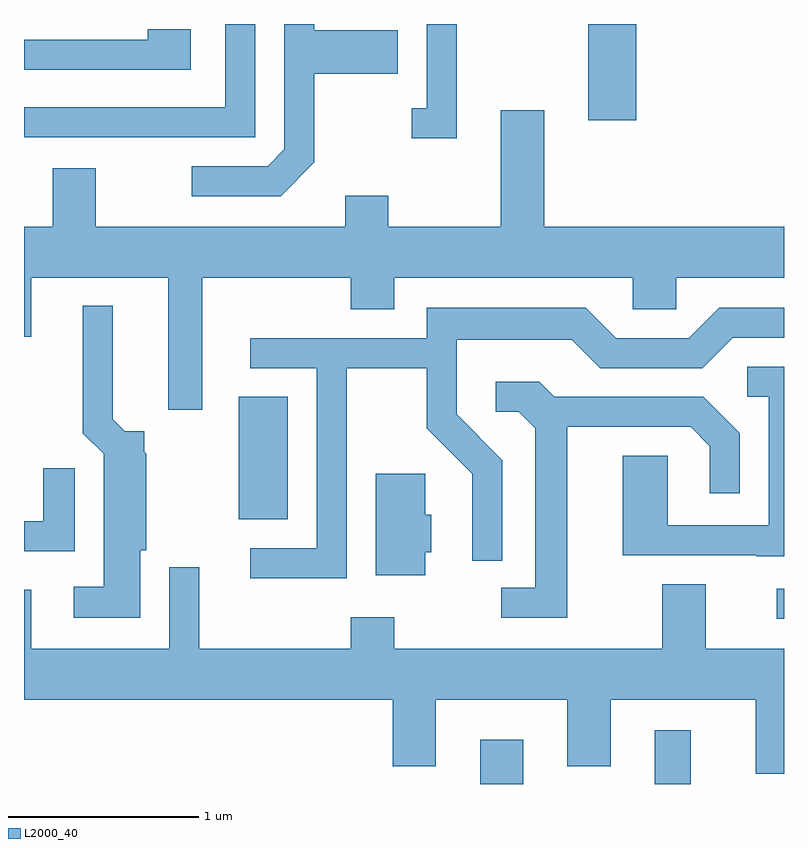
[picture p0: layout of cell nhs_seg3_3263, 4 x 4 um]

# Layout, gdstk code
import gdstk
lib = gdstk.Library(unit=1e-6, precision=1e-09)
def R(c, l, rs):  # rectangles x0, y0, x1, y1
    for r in rs: c.add(gdstk.rectangle(r[:2], r[2:], *l))
def P(c, l, *ps):  # polygons
    for p in ps: c.add(gdstk.Polygon(p, *l))
L2000_40 = (2000, 40)

nhs_seg3_3263 = lib.new_cell('nhs_seg3_3263')
R(nhs_seg3_3263, L2000_40, [(282.011,1249.892,282.239,1250.124), (282.931,1249.892,283.119,1250.174), (283.573,1250.761,283.611,1250.919), (280.741,1251.286,280.999,1251.929), (282.581,1253.386,282.834,1253.892)])
P(nhs_seg3_3263, L2000_40, [(280.829,1253.892),(280.671,1253.892),(280.671,1253.454),(279.611,1253.454),(279.611,1253.296),(280.829,1253.296)],
  [(281.889,1253.892),(281.731,1253.892),(281.731,1253.449),(281.653,1253.449),(281.653,1253.291),(281.889,1253.291)],
  [(281.139,1253.164),(281.139,1253.631),(281.579,1253.631),(281.579,1253.859),(281.139,1253.859),(281.139,1253.892),(280.981,1253.892),(280.981,1253.232),(280.894,1253.144),(280.493,1253.144),(280.493,1252.986),(280.962,1252.986)],
  [(280.489,1253.864),(280.261,1253.864),(280.261,1253.809),(279.611,1253.809),(279.611,1253.651),(280.489,1253.651)],
  [(280.549,1252.556),(281.331,1252.556),(281.331,1252.391),(281.559,1252.391),(281.559,1252.556),(282.816,1252.556),(282.816,1252.391),(283.044,1252.391),(283.044,1252.556),(283.611,1252.556),(283.611,1252.824),(282.349,1252.824),(282.349,1253.439),(282.121,1253.439),(282.121,1252.824),(281.529,1252.824),(281.529,1252.989),(281.301,1252.989),(281.301,1252.824),(279.989,1252.824),(279.989,1253.134),(279.761,1253.134),(279.761,1252.824),(279.611,1252.824),(279.611,1252.246),(279.649,1252.246),(279.649,1252.556),(280.371,1252.556),(280.371,1251.861),(280.549,1251.861)],
  [(280.224,1251.121),(280.254,1251.121),(280.254,1251.631),(280.244,1251.641),(280.244,1251.749),(280.142,1251.749),(280.079,1251.812),(280.079,1252.408),(279.921,1252.408),(279.921,1251.739),(280.031,1251.629),(280.031,1250.929),(279.873,1250.929),(279.873,1250.766),(280.224,1250.766)],
  [(281.309,1252.081),(281.731,1252.081),(281.731,1251.764),(281.971,1251.524),(281.971,1251.068),(282.129,1251.068),(282.129,1251.597),(281.889,1251.837),(281.889,1252.231),(282.494,1252.231),(282.644,1252.081),(283.182,1252.081),(283.342,1252.241),(283.611,1252.241),(283.611,1252.399),(283.269,1252.399),(283.109,1252.239),(282.727,1252.239),(282.567,1252.399),(281.731,1252.399),(281.731,1252.239),(280.803,1252.239),(280.803,1252.081),(281.151,1252.081),(281.151,1251.134),(280.803,1251.134),(280.803,1250.976),(281.309,1250.976)],
  [(283.611,1252.089),(283.418,1252.089),(283.418,1251.931),(283.531,1251.931),(283.531,1251.254),(282.999,1251.254),(282.999,1251.619),(282.761,1251.619),(282.761,1251.096),(283.465,1251.096),(283.465,1251.091),(283.611,1251.091)],
  [(282.469,1251.771),(283.119,1251.771),(283.221,1251.669),(283.221,1251.423),(283.379,1251.423),(283.379,1251.737),(283.187,1251.929),(282.402,1251.929),(282.322,1252.009),(282.093,1252.009),(282.093,1251.851),(282.214,1251.851),(282.301,1251.764),(282.301,1250.924),(282.123,1250.924),(282.123,1250.766),(282.469,1250.766)],
  [(279.879,1251.553),(279.711,1251.553),(279.711,1251.274),(279.611,1251.274),(279.611,1251.116),(279.879,1251.116)],
  [(281.724,1251.111),(281.754,1251.111),(281.754,1251.309),(281.724,1251.309),(281.724,1251.524),(281.461,1251.524),(281.461,1250.991),(281.724,1250.991)],
  [(283.611,1250.604),(283.199,1250.604),(283.199,1250.944),(282.971,1250.944),(282.971,1250.604),(281.559,1250.604),(281.559,1250.769),(281.331,1250.769),(281.331,1250.604),(280.534,1250.604),(280.534,1251.033),(280.376,1251.033),(280.376,1250.604),(279.649,1250.604),(279.649,1250.914),(279.611,1250.914),(279.611,1250.336),(281.551,1250.336),(281.551,1249.986),(281.779,1249.986),(281.779,1250.336),(282.471,1250.336),(282.471,1249.986),(282.699,1249.986),(282.699,1250.336),(283.461,1250.336),(283.461,1249.946),(283.611,1249.946)])

lib.write_gds('nhs_seg3_3263.gds')
